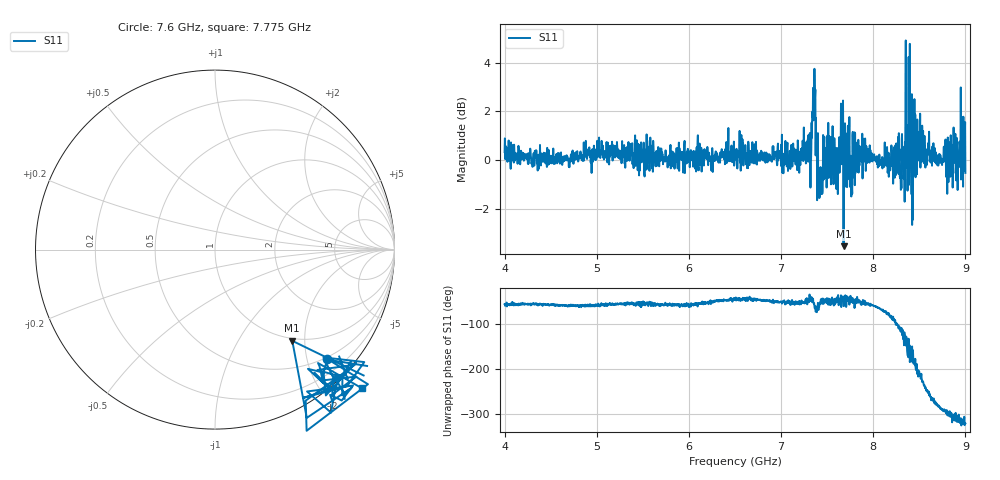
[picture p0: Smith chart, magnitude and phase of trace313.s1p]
! Created with skrf 1.8.0 (http://scikit-rf.org).
# Hz S RI R 50.0
!freq ReS11 ImS11
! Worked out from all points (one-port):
!   1601 points, 4 GHz to 9 GHz, reference 50 ohm
!   lowest |S11| = -3.5 dB at 7.678 GHz (marker M1), VSWR 4.99, Z = 47.7 - j87.3 ohm
!   |S11| at or under -10 dB: nowhere
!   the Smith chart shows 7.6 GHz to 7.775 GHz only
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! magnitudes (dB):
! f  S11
! 4 GHz  0.3
! 4.625 GHz  -0.2
! 5.25 GHz  0.1
! 5.875 GHz  -0.1
! 6.5 GHz  0.2
! 7.125 GHz  0.3
! 7.303 GHz  0.5
! 7.353 GHz  1.8
! 7.362 GHz  3.7
! 7.388 GHz  1.1
! 7.4 GHz  1.1
! 7.428 GHz  -0.3
! 7.512 GHz  1.5
! 7.591 GHz  0.5
! 7.622 GHz  0.5
! 7.647 GHz  0.5
! 7.678 GHz  -3.5
! 7.75 GHz  -0.1
! 8.253 GHz  0.0
! 8.316 GHz  -0.2
! 8.334 GHz  0.3
! 8.356 GHz  1.0
! 8.375 GHz  0.1
! 8.425 GHz  0.1
! 8.459 GHz  -0.7
! 8.812 GHz  0.5
! 8.972 GHz  1.0
! 9 GHz  -0.5
